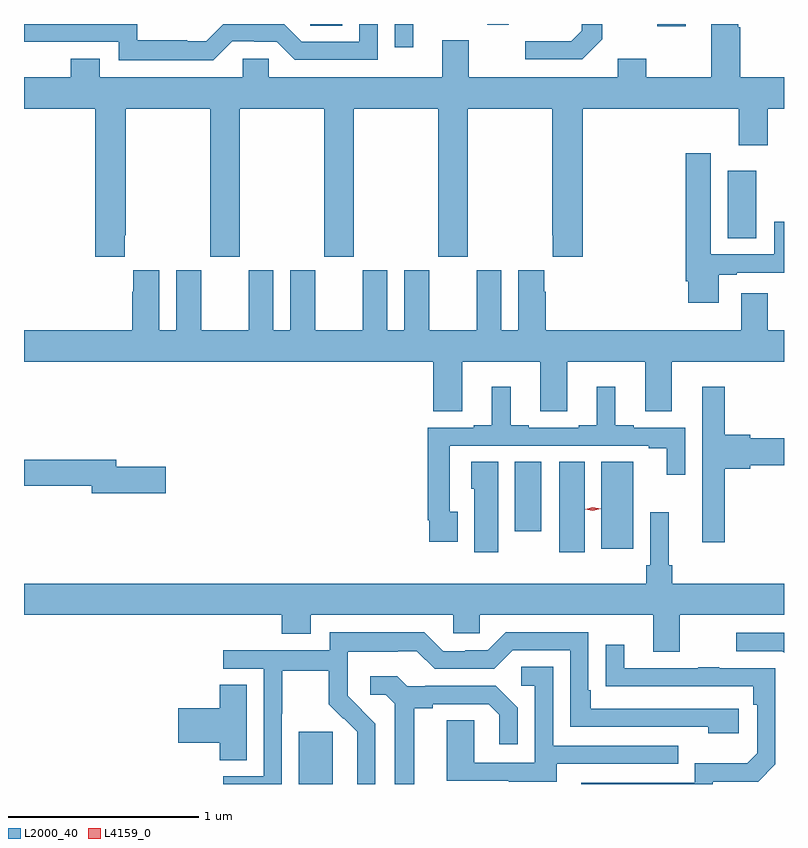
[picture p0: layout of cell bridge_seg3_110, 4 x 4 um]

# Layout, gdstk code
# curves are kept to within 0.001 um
import gdstk
lib = gdstk.Library(unit=1e-6, precision=1e-09)
def R(c, l, rs):  # rectangles x0, y0, x1, y1
    for r in rs: c.add(gdstk.rectangle(r[:2], r[2:], *l))
def P(c, l, *ps):  # polygons
    for p in ps: c.add(gdstk.Polygon(p, *l))
L2000_40 = (2000, 40)
L4159_0 = (4159, 0)

bridge_seg3_110 = lib.new_cell('bridge_seg3_110')
R(bridge_seg3_110, L2000_40, [(169.097,713.345,169.276,713.619), (170.468,714.564,170.602,715.04), (170.69,714.582,170.857,715.04), (170.234,714.675,170.374,715.04), (171.356,716.218,171.505,716.572), (169.603,717.222,169.699,717.345), (170.985,717.333,171.133,717.345), (169.158,717.337,169.326,717.345), (170.089,717.34,170.201,717.345)])
P(bridge_seg3_110, L2000_40, [(168.747,717.255),(168.863,717.255),(168.863,717.252),(168.981,717.252),(169.077,717.156),(169.512,717.156),(169.512,717.345),(169.416,717.345),(169.416,717.252),(169.113,717.252),(169.02,717.345),(168.699,717.345),(168.609,717.255),(168.509,717.255),(168.509,717.259),(168.246,717.259),(168.246,717.345),(167.651,717.345),(167.651,717.252),(168.15,717.252),(168.15,717.155),(168.647,717.155)],
  [(170.695,717.265),(170.695,717.345),(170.586,717.345),(170.586,717.309),(170.532,717.255),(170.289,717.255),(170.289,717.159),(170.589,717.159)],
  [(168.181,716.233),(168.186,716.233),(168.186,716.9),(168.631,716.9),(168.631,716.121),(168.786,716.121),(168.786,716.9),(169.231,716.9),(169.231,716.121),(169.386,716.121),(169.386,716.9),(169.831,716.9),(169.831,716.121),(169.986,716.121),(169.986,716.9),(170.431,716.9),(170.431,716.233),(170.435,716.233),(170.435,716.121),(170.591,716.121),(170.591,716.9),(171.413,716.9),(171.413,716.706),(171.565,716.706),(171.565,716.9),(171.651,716.9),(171.651,717.064),(171.422,717.064),(171.422,717.329),(171.409,717.329),(171.409,717.345),(171.269,717.345),(171.269,717.064),(170.925,717.064),(170.925,717.163),(170.777,717.163),(170.777,717.064),(169.993,717.064),(169.993,717.259),(169.853,717.259),(169.853,717.064),(168.939,717.064),(168.939,717.162),(168.801,717.162),(168.801,717.064),(168.049,717.064),(168.049,717.163),(167.897,717.163),(167.897,717.064),(167.651,717.064),(167.651,716.9),(168.026,716.9),(168.026,716.121),(168.181,716.121)],
  [(171.307,716.025),(171.403,716.025),(171.403,716.037),(171.651,716.037),(171.651,716.305),(171.599,716.305),(171.599,716.133),(171.265,716.133),(171.265,716.665),(171.134,716.665),(171.134,715.99),(171.146,715.99),(171.146,715.878),(171.307,715.878)],
  [(169.783,716.05),(169.652,716.05),(169.652,715.732),(169.564,715.732),(169.564,716.05),(169.433,716.05),(169.433,715.732),(169.183,715.732),(169.183,716.05),(169.052,716.05),(169.052,715.732),(168.964,715.732),(168.964,716.05),(168.833,716.05),(168.833,715.732),(168.583,715.732),(168.583,716.05),(168.452,716.05),(168.452,715.732),(168.364,715.732),(168.364,716.05),(168.227,716.05),(168.227,715.937),(168.221,715.937),(168.221,715.732),(167.651,715.732),(167.651,715.568),(169.805,715.568),(169.805,715.306),(169.957,715.306),(169.957,715.568),(170.369,715.568),(170.369,715.306),(170.509,715.306),(170.509,715.568),(170.921,715.568),(170.921,715.306),(171.061,715.306),(171.061,715.568),(171.651,715.568),(171.651,715.732),(171.565,715.732),(171.565,715.927),(171.425,715.927),(171.425,715.732),(170.396,715.732),(170.396,715.937),(170.389,715.937),(170.389,716.05),(170.252,716.05),(170.252,715.732),(170.164,715.732),(170.164,716.05),(170.033,716.05),(170.033,715.732),(169.783,715.732)],
  [(169.933,714.777),(169.893,714.777),(169.893,715.125),(170.939,715.125),(170.939,715.113),(171.035,715.113),(171.035,714.972),(171.132,714.972),(171.132,715.221),(170.86,715.221),(170.86,715.234),(170.764,715.234),(170.764,715.435),(170.666,715.435),(170.666,715.234),(170.57,715.234),(170.57,715.221),(170.308,715.221),(170.308,715.234),(170.212,715.234),(170.212,715.435),(170.114,715.435),(170.114,715.234),(170.018,715.234),(170.018,715.221),(169.777,715.221),(169.777,714.733),(169.785,714.733),(169.785,714.621),(169.933,714.621)],
  [(171.338,715.004),(171.474,715.004),(171.474,715.022),(171.651,715.022),(171.651,715.164),(171.474,715.164),(171.474,715.182),(171.338,715.182),(171.338,715.435),(171.222,715.435),(171.222,714.92),(171.221,714.92),(171.221,714.618),(171.338,714.618)],
  [(168.397,715.016),(168.136,715.016),(168.136,715.052),(167.651,715.052),(167.651,714.916),(168.008,714.916),(168.008,714.874),(168.397,714.874)],
  [(170.146,715.04),(170.006,715.04),(170.006,714.9),(170.021,714.9),(170.021,714.564),(170.146,714.564)],
  [(171.103,714.236),(171.651,714.236),(171.651,714.4),(171.062,714.4),(171.062,714.496),(171.044,714.496),(171.044,714.775),(170.946,714.775),(170.946,714.496),(170.926,714.496),(170.926,714.4),(167.651,714.4),(167.651,714.236),(169.007,714.236),(169.007,714.137),(169.159,714.137),(169.159,714.236),(169.911,714.236),(169.911,714.138),(170.049,714.138),(170.049,714.236),(170.963,714.236),(170.963,714.042),(171.103,714.042)],
  [(169.008,713.716),(169.011,713.716),(169.011,713.94),(169.255,713.94),(169.255,713.765),(169.332,713.688),(169.335,713.691),(169.406,713.621),(169.406,713.498),(169.404,713.498),(169.404,713.345),(169.5,713.345),(169.5,713.662),(169.354,713.81),(169.354,713.907),(169.356,713.907),(169.356,714.041),(169.619,714.041),(169.619,714.045),(169.719,714.045),(169.812,713.952),(170.127,713.952),(170.223,714.048),(170.526,714.048),(170.526,713.646),(171.251,713.646),(171.251,713.612),(171.412,713.612),(171.412,713.742),(170.635,713.742),(170.635,713.839),(170.622,713.839),(170.622,714.144),(170.187,714.144),(170.091,714.048),(169.973,714.048),(169.973,714.045),(169.857,714.045),(169.757,714.145),(169.26,714.145),(169.26,714.048),(168.699,714.048),(168.699,713.952),(168.912,713.952),(168.912,713.385),(168.699,713.385),(168.699,713.345),(169.008,713.345)],
  [(171.651,714.141),(171.399,714.141),(171.399,714.045),(171.642,714.045),(171.651,714.036)],
  [(171.276,713.358),(171.516,713.358),(171.606,713.448),(171.606,713.955),(171.311,713.955),(171.311,713.96),(171.199,713.96),(171.199,713.955),(170.809,713.955),(170.809,714.079),(170.713,714.079),(170.713,713.86),(171.49,713.859),(171.49,713.762),(171.51,713.762),(171.51,713.508),(171.457,713.455),(171.18,713.455),(171.18,713.352),(170.585,713.352),(170.585,713.345),(171.276,713.345)],
  [(170.455,713.451),(171.095,713.451),(171.095,713.547),(170.436,713.547),(170.436,713.963),(170.268,713.963),(170.268,713.862),(170.34,713.862),(170.34,713.457),(170.022,713.457),(170.022,713.681),(169.877,713.681),(169.877,713.361),(170.201,713.361),(170.201,713.357),(170.455,713.357)],
  [(169.705,713.744),(169.801,713.744),(169.801,713.766),(170.096,713.766),(170.153,713.709),(170.153,713.553),(170.25,713.553),(170.25,713.746),(170.134,713.862),(169.762,713.862),(169.762,713.859),(169.668,713.859),(169.616,713.911),(169.473,713.911),(169.473,713.814),(169.554,713.814),(169.601,713.767),(169.601,713.345),(169.705,713.345)],
  [(168.823,713.867),(168.68,713.867),(168.68,713.744),(168.462,713.744),(168.462,713.561),(168.68,713.561),(168.68,713.47),(168.823,713.47)])
P(bridge_seg3_110, L4159_0, [(170.645,714.782),(170.604,714.792),(170.604,714.792),(170.604,714.792),(170.645,714.802),(170.686,714.793),(170.686,714.793),(170.686,714.793)])

lib.write_gds('bridge_seg3_110.gds')
